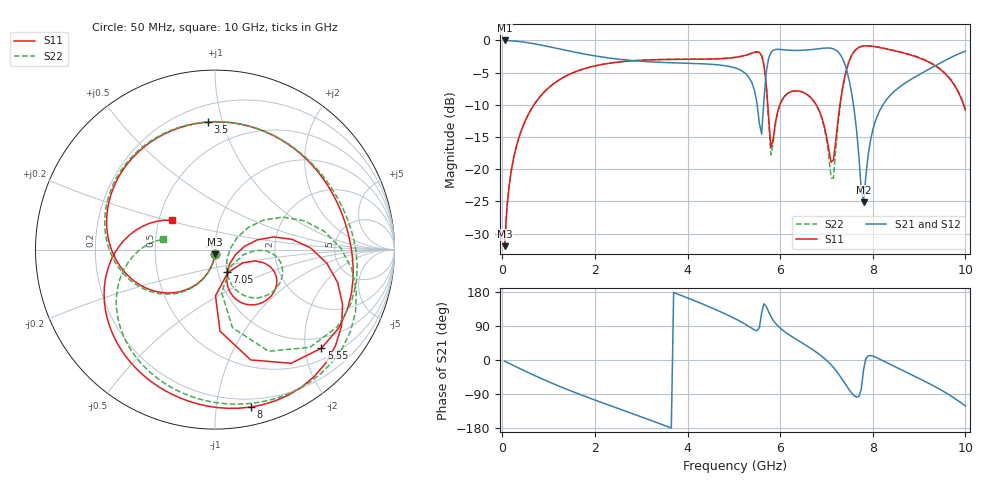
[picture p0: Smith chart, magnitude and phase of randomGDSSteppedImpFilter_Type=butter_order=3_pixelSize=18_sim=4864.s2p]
! freq	dB(S11)	phase(S11)	dB(S12)	phase(S12)
!  dB(S21)	phase(S21)	dB(S22)	phase(S22)
!S-par simulation data
#  GHz  S  DB  R 50
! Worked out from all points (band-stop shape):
!   200 points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, 50 MHz to 10 GHz, reference 50 ohm
!   highest |S21| = -0.01 dB at 50 MHz (marker M1); lowest = -25.1 dB at 7.8 GHz (marker M2)
!   |S21| within 3 dB of the highest: start of sweep to 2.625 GHz; 5.746 GHz to 7.358 GHz (1.613 GHz wide, 24.6 % of centre) (the widest 2 of 3)
!   lowest |S11| = -31.9 dB at 50 MHz (marker M3), VSWR 1.05, Z = 49.8 - j2.52 ohm
!   |S11| at or under -10 dB: start of sweep to 684.4 MHz; 5.732 GHz to 5.993 GHz (261.4 MHz wide, 4.46 % of centre); 6.779 GHz to 7.292 GHz (512.8 MHz wide, 7.29 % of centre) (the widest 3 of 4)
!   |S22| runs from -31.9 to -0.8 dB; largest |S21 - S12| = 0
!   S11 on the Smith chart (normalised r, x): 50 MHz: 1.00, -0.05; 3.5 GHz: 0.31, +0.90; 5.55 GHz: 0.74, -2.35; 7.05 GHz: 1.11, -0.28; 8 GHz: 0.14, -1.24; 10 GHz: 0.59, +0.21
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0.05  -31.94 -93.1  -0.01 -3.1  -0.01 -3.1  -31.95 -93.0
0.2  -19.99 -102.8  -0.06 -12.1  -0.06 -12.1  -19.98 -102.4
0.5  -12.41 -120.9  -0.29 -29.7  -0.29 -29.7  -12.41 -120.0
1.75  -4.44 173.4  -2.08 -94.3  -2.08 -94.3  -4.44 176.8
3.4  -2.97 97.7  -3.40 -168.0  -3.40 -168.0  -2.97 105.3
3.5  -2.96 93.0  -3.43 -172.6  -3.43 -172.6  -2.96 100.9
5.05  -2.61 11.7  -4.33 107.6  -4.33 107.6  -2.61 22.8
5.4  -1.96 -17.6  -6.75 82.6  -6.75 82.6  -1.96 -6.6
5.55  -1.85 -42.8  -12.85 85.0  -12.85 85.0  -1.87 -32.2
5.65  -3.80 -72.1  -9.22 148.5  -9.22 148.5  -3.87 -62.2
5.8  -16.65 -61.1  -1.88 115.1  -1.88 115.1  -17.77 -49.7
6.1  -8.64 -23.1  -1.47 74.5  -1.47 74.5  -8.65 -10.4
6.7  -9.18 -60.9  -1.41 27.5  -1.41 27.5  -9.20 -50.9
7.05  -16.93 -61.7  -1.18 -6.5  -1.18 -6.5  -18.02 -59.3
7.15  -18.59 -13.9  -1.31 -19.6  -1.31 -19.6  -21.40 3.4
7.4  -5.46 0.9  -3.76 -62.1  -3.76 -62.1  -5.63 17.8
7.6  -1.68 -31.3  -10.86 -94.3  -10.86 -94.3  -1.72 -16.3
7.8  -0.86 -57.9  -25.12 -27.0  -25.12 -27.0  -0.87 -43.7
8  -0.92 -77.3  -13.92 10.3  -13.92 10.3  -0.91 -63.6
8.35  -1.41 -102.8  -8.74 -10.0  -8.74 -10.0  -1.38 -89.4
9.25  -3.52 -157.9  -4.32 -64.2  -4.32 -64.2  -3.46 -142.9
10  -10.81 145.4  -1.67 -121.1  -1.67 -121.1  -10.61 168.7
